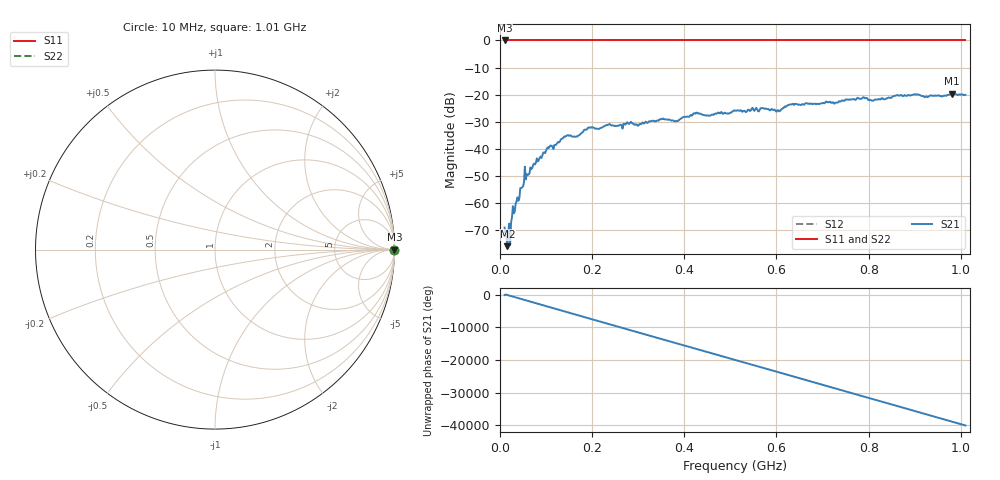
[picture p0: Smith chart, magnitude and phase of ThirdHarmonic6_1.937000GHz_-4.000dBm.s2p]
! 8/16/2025 11:20:09 PM
! C:\ANRITSUVNA\TEMP\TEMP.S2P
! CHANNEL.1
! TR.MEASUREMENT
! RAW.DATA
! RF.CORRECTION.OFF
! AVERAGING.OFF
! IF.BANDWIDTH: 5KHZ
! SWEEPTYPE:  FREQ.SWEEP(Linear)
! Reference Plane Port Info
! PORT:  PORT1  PORT2
! DISTANCE:  0  m  0  m
! TIME:  0  s  0  s
! PHASE.OFFSET:  0  deg.  0  deg.
! LOSS:  0  dB  0  dB
! REF.LOSS:  0  dB  0  dB
! REF.FREQ:  0  Hz  0  Hz
! Power Info
! POWER:  -20  dBm  -20  dBm
! EFF.POWER:  -20  dBm  -20  dBm
! SOURCE.ATTEN:  0  dB  0  dB
! TEST.ATTEN:  0  dB  0  dB
# GHZ S RI R 50.0
! FREQ.GHZ  S11RE  S11IM  S21RE  S21IM  S12RE  S12IM  S22RE  S22IM
!; PortSelection: Port_12
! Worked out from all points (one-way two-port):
!   501 points, 10 MHz to 1.01 GHz, reference 50 ohm
!   highest |S21| = -19.72 dB at 980 MHz (marker M1); lowest = -76.0 dB at 16 MHz (marker M2)
!   lowest |S11| = 0.0 dB at 10 MHz (marker M3)
!   |S11| at or under -10 dB: nowhere
!   |S22| runs from 0.0 to 0.0 dB; largest |S21 - S12| = 1.1
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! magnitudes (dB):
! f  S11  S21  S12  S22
! 10 MHz  0.0  -69.1  0.0  0.0
! 16 MHz  0.0  -76.0  0.0  0.0
! 18 MHz  0.0  -70.5  0.0  0.0
! 20 MHz  0.0  -67.7  0.0  0.0
! 32 MHz  0.0  -63.2  0.0  0.0
! 58 MHz  0.0  -49.4  0.0  0.0
! 106 MHz  0.0  -39.7  0.0  0.0
! 144 MHz  0.0  -35.3  0.0  0.0
! 164 MHz  0.0  -35.6  0.0  0.0
! 178 MHz  0.0  -34.1  0.0  0.0
! 196 MHz  0.0  -32.1  0.0  0.0
! 344 MHz  0.0  -29.6  0.0  0.0
! 382 MHz  0.0  -29.8  0.0  0.0
! 424 MHz  0.0  -27.0  0.0  0.0
! 452 MHz  0.0  -27.8  0.0  0.0
! 510 MHz  0.0  -25.9  0.0  0.0
! 604 MHz  0.0  -25.7  0.0  0.0
! 632 MHz  0.0  -23.7  0.0  0.0
! 678 MHz  0.0  -23.5  0.0  0.0
! 844 MHz  0.0  -21.0  0.0  0.0
! 980 MHz  0.0  -19.7  0.0  0.0
! 1.01 GHz  0.0  -20.1  0.0  0.0
